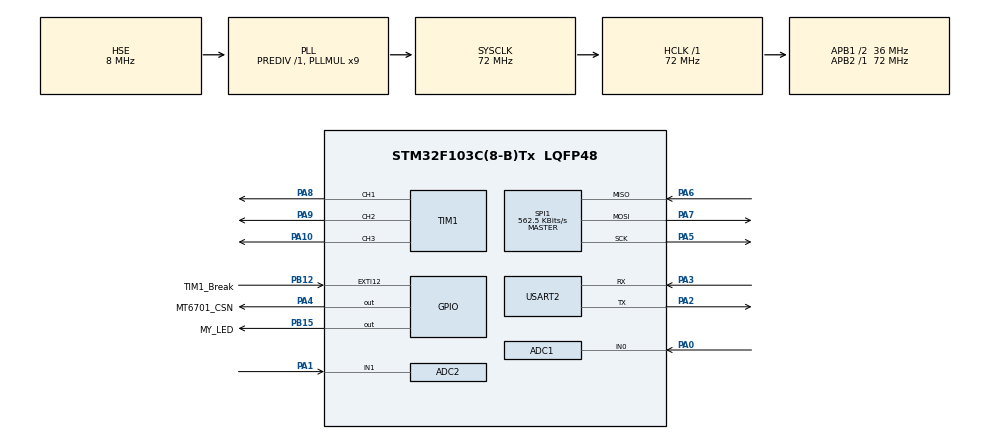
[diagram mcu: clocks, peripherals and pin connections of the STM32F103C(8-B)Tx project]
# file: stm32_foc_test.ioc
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ADC1.Channel-1\#ChannelInjectedConversion=ADC_CHANNEL_0
ADC1.ContinuousConvMode=ENABLE
ADC1.EnableAnalogWatchDog=false
ADC1.EnableInjectedConversion=ENABLE
ADC1.EnableRegularConversion=DISABLE
ADC1.ExternalTrigInjecConv=ADC_EXTERNALTRIGINJECCONV_T1_TRGO
ADC1.InjNumberOfConversion=1
ADC1.InjectedOffset-1\#ChannelInjectedConversion=0
ADC1.InjectedRank-1\#ChannelInjectedConversion=1
ADC1.Mode=ADC_DUALMODE_INJECSIMULT
ADC1.SamplingTime-1\#ChannelInjectedConversion=ADC_SAMPLETIME_7CYCLES_5
ADC1.master=1
ADC2.Channel-1\#ChannelInjectedConversion=ADC_CHANNEL_1
ADC2.ContinuousConvMode=ENABLE
ADC2.EnableInjectedConversion=ENABLE
ADC2.EnableRegularConversion=DISABLE
ADC2.InjNumberOfConversion=1
ADC2.InjectedOffset-1\#ChannelInjectedConversion=0
ADC2.InjectedRank-1\#ChannelInjectedConversion=1
ADC2.Mode=ADC_DUALMODE_INJECSIMULT
ADC2.SamplingTime-1\#ChannelInjectedConversion=ADC_SAMPLETIME_7CYCLES_5
Dma.Request0=SPI1_RX
Dma.Request1=SPI1_TX
Dma.SPI1_RX.0.Direction=DMA_PERIPH_TO_MEMORY
Dma.SPI1_RX.0.Instance=DMA1_Channel2
Dma.SPI1_RX.0.MemDataAlignment=DMA_MDATAALIGN_BYTE
Dma.SPI1_RX.0.MemInc=DMA_MINC_ENABLE
Dma.SPI1_RX.0.Mode=DMA_NORMAL
Dma.SPI1_RX.0.PeriphDataAlignment=DMA_PDATAALIGN_BYTE
Dma.SPI1_RX.0.PeriphInc=DMA_PINC_DISABLE
Dma.SPI1_RX.0.Priority=DMA_PRIORITY_LOW
Dma.SPI1_TX.1.Direction=DMA_MEMORY_TO_PERIPH
Dma.SPI1_TX.1.Instance=DMA1_Channel3
Dma.SPI1_TX.1.MemDataAlignment=DMA_MDATAALIGN_BYTE
Dma.SPI1_TX.1.MemInc=DMA_MINC_ENABLE
Dma.SPI1_TX.1.Mode=DMA_NORMAL
Dma.SPI1_TX.1.PeriphDataAlignment=DMA_PDATAALIGN_BYTE
Dma.SPI1_TX.1.PeriphInc=DMA_PINC_DISABLE
Dma.SPI1_TX.1.Priority=DMA_PRIORITY_LOW
Mcu.Family=STM32F1
Mcu.Name=STM32F103C(8-B)Tx
Mcu.Package=LQFP48
Mcu.UserConstants=speed_calc_freq,motor_speed_calc_freq;pwm_freq,motor_pwm_freq;control_freq,motor_control_freq
NVIC.ADC1_2_IRQn=true\:1\:0\:true\:false\:true\:true\:true\:true
NVIC.DMA1_Channel2_IRQn=true\:1\:0\:false\:false\:true\:false\:true\:true
NVIC.DMA1_Channel3_IRQn=true\:1\:0\:false\:false\:true\:false\:true\:true
NVIC.EXTI15_10_IRQn=true\:3\:0\:true\:false\:true\:true\:true\:true
NVIC.PriorityGroup=NVIC_PRIORITYGROUP_4
NVIC.SPI1_IRQn=true\:1\:0\:true\:false\:true\:true\:true\:true
NVIC.TIM3_IRQn=true\:1\:0\:true\:false\:true\:true\:true\:true
PA0-WKUP.Signal=ADCx_IN0
PA1.Signal=ADCx_IN1
PA10.Signal=S_TIM1_CH3
PA13.Mode=Serial_Wire
PA13.Signal=SYS_JTMS-SWDIO
PA14.Mode=Serial_Wire
PA14.Signal=SYS_JTCK-SWCLK
PA2.Mode=Asynchronous
PA2.Signal=USART2_TX
PA3.Mode=Asynchronous
PA3.Signal=USART2_RX
PA4.GPIO_Label=MT6701_CSN
PA4.Signal=GPIO_Output
PA5.Mode=Full_Duplex_Master
PA5.Signal=SPI1_SCK
PA6.Mode=Full_Duplex_Master
PA6.Signal=SPI1_MISO
PA7.Mode=Full_Duplex_Master
PA7.Signal=SPI1_MOSI
PA8.Signal=S_TIM1_CH1
PA9.Signal=S_TIM1_CH2
PB12.GPIO_Label=TIM1_Break
PB12.GPIO_ModeDefaultEXTI=GPIO_MODE_IT_FALLING
PB12.Signal=GPXTI12
PB15.GPIO_Label=MY_LED
PB15.Signal=GPIO_Output
PD0-OSC_IN.Mode=HSE-External-Oscillator
PD0-OSC_IN.Signal=RCC_OSC_IN
PD1-OSC_OUT.Mode=HSE-External-Oscillator
PD1-OSC_OUT.Signal=RCC_OSC_OUT
ProjectManager.HeapSize=0x200
ProjectManager.StackSize=0x400
ProjectManager.TargetToolchain=MDK-ARM V5.32
RCC.ADCPresc=RCC_ADCPCLK2_DIV6
RCC.AHBFreq_Value=72000000
RCC.APB1CLKDivider=RCC_HCLK_DIV2
RCC.APB1Freq_Value=36000000
RCC.APB1TimFreq_Value=72000000
RCC.APB2Freq_Value=72000000
RCC.APB2TimFreq_Value=72000000
RCC.HCLKFreq_Value=72000000
RCC.PLLMUL=RCC_PLL_MUL9
RCC.PLLSourceVirtual=RCC_PLLSOURCE_HSE
RCC.SYSCLKFreq_VALUE=72000000
RCC.SYSCLKSource=RCC_SYSCLKSOURCE_PLLCLK
RCC.USBFreq_Value=72000000
SH.ADCx_IN0.0=ADC1_IN0,IN0
SH.ADCx_IN1.0=ADC2_IN1,IN1
SH.S_TIM1_CH1.0=TIM1_CH1,PWM Generation1 CH1
SH.S_TIM1_CH2.0=TIM1_CH2,PWM Generation2 CH2
SH.S_TIM1_CH3.0=TIM1_CH3,PWM Generation3 CH3
SPI1.BaudRatePrescaler=SPI_BAUDRATEPRESCALER_128
SPI1.CLKPhase=SPI_PHASE_2EDGE
SPI1.CalculateBaudRate=562.5 KBits/s
SPI1.Direction=SPI_DIRECTION_2LINES
SPI1.Mode=SPI_MODE_MASTER
SPI1.VirtualType=VM_MASTER
STMicroelectronics.X-CUBE-ALGOBUILD.1.4.0.LibraryCcDSPOoLibraryJjDSPOoLibrary=true
TIM1.AutoReloadPreload=TIM_AUTORELOAD_PRELOAD_ENABLE
TIM1.BreakPolarity=TIM_BREAKPOLARITY_LOW
TIM1.BreakState=TIM_BREAK_ENABLE
TIM1.Channel-PWM\ Generation1\ CH1=TIM_CHANNEL_1
TIM1.Channel-PWM\ Generation2\ CH2=TIM_CHANNEL_2
TIM1.Channel-PWM\ Generation3\ CH3=TIM_CHANNEL_3
TIM1.CounterMode=TIM_COUNTERMODE_CENTERALIGNED3
TIM1.LockLevel=TIM_LOCKLEVEL_1
TIM1.Period=(72*1000000/(2*motor_pwm_freq))
TIM1.RepetitionCounter=(2*motor_pwm_freq/motor_control_freq)-1
TIM1.TIM_MasterOutputTrigger=TIM_TRGO_UPDATE
TIM3.Period=1000000/speed_calc_freq-1
TIM3.Prescaler=72-1
USART2.VirtualMode=VM_ASYNC
VP_STMicroelectronics.X-CUBE-ALGOBUILD_VS_DSPOoLibraryJjLibrary_1.4.0_1.4.0.Mode=DSPOoLibraryJjLibrary
VP_TIM1_VS_ClockSourceINT.Mode=Internal
VP_TIM3_VS_ClockSourceINT.Mode=Internal
board=custom

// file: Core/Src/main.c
/* USER CODE BEGIN Header */
/**
 ******************************************************************************
 * @file           : main.c
 * @brief          : Main program body
 ******************************************************************************
 * @attention
 *
 * Copyright (c) 2024 STMicroelectronics.
 * All rights reserved.
 *
 * This software is licensed under terms that can be found in the LICENSE file
 * in the root directory of this software component.
 * If no LICENSE file comes with this software, it is provided AS-IS.
 *
 ******************************************************************************
 */
// #if defined(__ARMCC_VERSION) && (__ARMCC_VERSION < 6000000)
// #error "不支持使用 Keil ARM Compiler V5编译器 请使用 Keil ARM Compiler V6编译"
// #endif
/* USER CODE END Header */
#include "main.h"
#include "adc.h"
#include "dma.h"
#include "spi.h"
#include "tim.h"
#include "usart.h"
#include "gpio.h"

/* USER CODE BEGIN Includes */
#include <stdio.h>
#include <stdbool.h>
#include "motor/motor_runtime_param.h"
#include "motor/foc.h"
#include "global_def.h"
#include <math.h>
/* USER CODE END Includes */

/* USER CODE BEGIN PD */
#define TARGET_SPEED_RPM 2000.0f
#define TARGET_SPEED_RAD_S (TARGET_SPEED_RPM * 2.0f * PI / 60.0f)
#define SPEED_RAMP_MS 2620u // 维持原来约80 rad/s²的加速斜率
#define STALL_TIMEOUT_MS 2000u
#define STARTUP_STILL_MS 100u
#define STARTUP_STILL_TIMEOUT_MS 2000u

/* USER CODE END PD */

/* USER CODE BEGIN PV */
static inline void iwdg_feed(void)
{
  IWDG->KR = 0xAAAAu;
}
/* USER CODE END PV */

void SystemClock_Config(void);

/* USER CODE BEGIN 0 */
void set_pwm_duty(float d_u, float d_v, float d_w)
{
  if (!isfinite(d_u) || !isfinite(d_v) || !isfinite(d_w))
  {
    motor_stop(MOTOR_FAULT_CONTROL);
    return;
  }
  if (d_u != 0.0f || d_v != 0.0f || d_w != 0.0f)
  {
    // 保持三相电压矢量方向，同时在上下计数端都留10%的采样窗口。
    float highest = fmaxf(d_u, fmaxf(d_v, d_w));
    float lowest = fminf(d_u, fminf(d_v, d_w));
    float scale = 1.0f;
    if (highest > 0.9f)
      scale = fminf(scale, 0.4f / (highest - 0.5f));
    if (lowest < 0.1f)
      scale = fminf(scale, 0.4f / (0.5f - lowest));
    d_u = fmaxf(0.1f, fminf(0.5f + scale * (d_u - 0.5f), 0.9f));
    d_v = fmaxf(0.1f, fminf(0.5f + scale * (d_v - 0.5f), 0.9f));
    d_w = fmaxf(0.1f, fminf(0.5f + scale * (d_w - 0.5f), 0.9f));
  }
  uint32_t primask = __get_PRIMASK();
  __disable_irq();
  __HAL_TIM_SET_COMPARE(&htim1, TIM_CHANNEL_1, d_u * htim1.Instance->ARR);
  __HAL_TIM_SET_COMPARE(&htim1, TIM_CHANNEL_2, d_v * htim1.Instance->ARR);
  __HAL_TIM_SET_COMPARE(&htim1, TIM_CHANNEL_3, d_w * htim1.Instance->ARR);
  __set_PRIMASK(primask);
}

void set_pwm_duty_q15(uint16_t d_u, uint16_t d_v, uint16_t d_w)
{
  if (d_u > 32767u || d_v > 32767u || d_w > 32767u)
  {
    motor_stop(MOTOR_FAULT_CONTROL);
    return;
  }
  uint32_t primask = __get_PRIMASK();
  __disable_irq();
  TIM1->CCR1 = ((uint32_t)d_u * TIM1->ARR) >> 15;
  TIM1->CCR2 = ((uint32_t)d_v * TIM1->ARR) >> 15;
  TIM1->CCR3 = ((uint32_t)d_w * TIM1->ARR) >> 15;
  __set_PRIMASK(primask);
}

void motor_stop(uint32_t reason)
{
  uint32_t primask = __get_PRIMASK();
  __disable_irq();
  if (motor_fault == MOTOR_FAULT_NONE)
    motor_fault = reason;
  motor_control_context.type = control_type_null;
  if ((RCC->APB2ENR & RCC_APB2ENR_TIM1EN) != 0u)
  {
    TIM1->CCR1 = 0;
    TIM1->CCR2 = 0;
    TIM1->CCR3 = 0;
    TIM1->BDTR &= ~TIM_BDTR_MOE; // 锁住PWM输出，必须重启才能恢复
  }
  __set_PRIMASK(primask);
}
/* USER CODE END 0 */

int main(void)
{

  /* MCU Configuration--------------------------------------------------------*/

  /* Reset of all peripherals, Initializes the Flash interface and the Systick. */
  HAL_Init();

  /* Configure the system clock */
  SystemClock_Config();

  CoreDebug->DEMCR |= CoreDebug_DEMCR_TRCENA_Msk;
  DWT->CYCCNT = 0;
  DWT->CTRL |= DWT_CTRL_CYCCNTENA_Msk;

  /* Initialize all configured peripherals */
  MX_GPIO_Init();
  MX_DMA_Init();
  MX_SPI1_Init();
  MX_USART2_UART_Init();
  MX_TIM1_Init();
  MX_TIM3_Init();
  MX_ADC1_Init();
  MX_ADC2_Init();
  /* USER CODE BEGIN 2 */
  // DRV8313上电时nFAULT会短暂为低；PWM尚未启动，等待其连续稳定为高。
  uint32_t driver_wait_start = HAL_GetTick();
  uint32_t driver_ready_since = driver_wait_start;
  while (HAL_GetTick() - driver_ready_since < 10u)
  {
    if (HAL_GPIO_ReadPin(TIM1_Break_GPIO_Port, TIM1_Break_Pin) == GPIO_PIN_RESET)
      driver_ready_since = HAL_GetTick();
    if (HAL_GetTick() - driver_wait_start > 500u)
      Error_Handler();
  }
  motor_fault = MOTOR_FAULT_NONE;
  set_motor_pid(
      3.5f, 0.0f, 0.007f,
      0.01f, 0.15f, 0.0f, // 连续时间P,I,D；初始化时按1kHz外环离散化
      1.2f, 160.0f, 0.0f, // 连续时间电流PI；按8kHz离散化后Ki仍为0.02
      1.2f, 160.0f, 0.0f);

  mt6701_start_read();
  if (HAL_TIM_Base_Start_IT(&htim3) != HAL_OK)
    Error_Handler();
  uint32_t wait_start = HAL_GetTick();
  while (mt6701_valid_frame_count == 0u)
  {
    if (HAL_GetTick() - wait_start > 100u)
      Error_Handler();
  }

  // 软复位时转子可能仍在转；必须静止后才能把电流采样值当作零点。
  uint32_t quiet_since = HAL_GetTick();
  wait_start = quiet_since;
  while (HAL_GetTick() - quiet_since < STARTUP_STILL_MS)
  {
    if (motor_fault != MOTOR_FAULT_NONE || !mt6701_angle_is_fresh() ||
        HAL_GetTick() - wait_start > STARTUP_STILL_TIMEOUT_MS)
      Error_Handler();
    if (fabsf(motor_speed) > 1.0f)
      quiet_since = HAL_GetTick();
  }

  if (motor_fault != MOTOR_FAULT_NONE ||
      HAL_ADCEx_Calibration_Start(&hadc1) != HAL_OK ||
      HAL_ADCEx_Calibration_Start(&hadc2) != HAL_OK ||
      HAL_TIM_PWM_Start(&htim1, TIM_CHANNEL_1) != HAL_OK ||
      HAL_TIM_PWM_Start(&htim1, TIM_CHANNEL_2) != HAL_OK ||
      HAL_TIM_PWM_Start(&htim1, TIM_CHANNEL_3) != HAL_OK ||
      HAL_ADCEx_InjectedStart(&hadc2) != HAL_OK ||
      HAL_ADCEx_InjectedStart_IT(&hadc1) != HAL_OK)
    Error_Handler();

  wait_start = HAL_GetTick();
  while (!motor_current_offset_ready)
  {
    if (motor_fault != MOTOR_FAULT_NONE || HAL_GetTick() - wait_start > 250u)
      Error_Handler();
  }

  encoder_init_angle = encoder_angle; // 记录一下上电时编码器角度
  motor_control_context.torque_norm_d = MOTOR_ALIGN_CURRENT_A / MAX_CURRENT;
  motor_control_context.type = control_type_align;
  // 定子alpha轴限流校零：至少400ms让转子机械到位，且电流须稳定在
  // 目标附近50ms以上才记零位；1.5s不收敛说明电流环根本没工作。
  uint32_t align_start = HAL_GetTick();
  uint32_t align_settled_since = align_start;
  bool align_ok = false;
  while (HAL_GetTick() - align_start < 1500u)
  {
    if (motor_fault != MOTOR_FAULT_NONE)
      Error_Handler();
    if (fabsf(motor_i_u - MOTOR_ALIGN_CURRENT_A) < 0.05f)
    {
      if (HAL_GetTick() - align_settled_since >= 50u &&
          HAL_GetTick() - align_start >= 400u)
      {
        align_ok = true;
        break;
      }
    }
    else
    {
      align_settled_since = HAL_GetTick();
    }
    HAL_Delay(5);
  }
  if (!align_ok)
    motor_stop(MOTOR_FAULT_ALIGN);
  if (motor_fault != MOTOR_FAULT_NONE)
    Error_Handler();
  rotor_zero_angle = encoder_angle;
  rotor_zero_raw = encoder_raw;
  motor_control_context.type = control_type_null;
  set_pwm_duty(0.0f, 0.0f, 0.0f);
  HAL_Delay(100);
  /* USER CODE END 2 */

  /* Infinite loop */
  /* USER CODE BEGIN WHILE */
  // 直接进入限流速度环，目标从0缓升；不再先用固定力矩盲转1秒。
  motor_control_context.speed = 0.0f;
  motor_control_context.max_torque_norm = MOTOR_RUN_CURRENT_A / MAX_CURRENT;
  motor_control_context.type = control_type_speed_torque;
  // 独立看门狗：主循环每~200ms喂一次，固件跑飞约1s后复位并切断PWM输出。
  // 调试器halt内核时冻结计数，避免SWD监控触发复位。IWDG启动后由硬件自动开LSI。
  __HAL_DBGMCU_FREEZE_IWDG();
  // 必须先启动看门狗：F1的LSI由IWDG启动时硬件强制开启，先写PR/RLR再等待
  // 会因LSI未起振使SR同步位永远置位而卡死。
  IWDG->KR = 0xCCCCu;
  IWDG->KR = 0x5555u; // 解锁PR/RLR写访问
  IWDG->PR = 4u;      // LSI约40kHz / 64 ≈ 625Hz计数
  IWDG->RLR = 625u;   // 约1s超时
  uint32_t iwdg_sync_start = HAL_GetTick();
  while ((IWDG->SR & 3u) != 0u && HAL_GetTick() - iwdg_sync_start < 50u)
    ; // 等待分频与重载值同步生效；超时则放弃看门狗也不卡死
  iwdg_feed();
  uint32_t ramp_start = HAL_GetTick();
  while (motor_fault == MOTOR_FAULT_NONE)
  {
    iwdg_feed();
    uint32_t elapsed = HAL_GetTick() - ramp_start;
    if (elapsed >= SPEED_RAMP_MS)
    {
      motor_control_context.speed = TARGET_SPEED_RAD_S;
      break;
    }
    motor_control_context.speed = TARGET_SPEED_RAD_S * ((float)elapsed / SPEED_RAMP_MS);
    HAL_Delay(10);
  }
  uint32_t low_speed_since = HAL_GetTick();

  // 理论讲解以及FOC代码逐步实现讲解请前往查看：https://blog.csdn.net/qq570437459/category_12672491.html
  while (1)
  {
    iwdg_feed();
    if (motor_fault == MOTOR_FAULT_NONE)
    {
      uint32_t now = HAL_GetTick();
      float target = motor_control_context.speed;
      float speed_in_target_direction = motor_speed * (target >= 0.0f ? 1.0f : -1.0f);
      if (speed_in_target_direction < 0.5f * fabsf(target))
      {
        if (now - low_speed_since >= STALL_TIMEOUT_MS)
          motor_stop(MOTOR_FAULT_STALL);
      }
      else
      {
        low_speed_since = now;
      }
    }
    // 使用整数避免newlib-nano默认未开启浮点printf时丢失诊断值。
    printf("speed_mrad_s=%ld iq_mA=%ld id_mA=%ld fault=%lu frames=%lu\n",
           (long)(motor_speed * 1000.0f), (long)(motor_i_q * 1000.0f),
           (long)(motor_i_d * 1000.0f), (unsigned long)motor_fault,
           (unsigned long)mt6701_valid_frame_count);
    HAL_Delay(100);
    HAL_GPIO_WritePin(GPIOB, GPIO_PIN_15, GPIO_PIN_SET);
    HAL_Delay(100);
    HAL_GPIO_WritePin(GPIOB, GPIO_PIN_15, GPIO_PIN_RESET);

    /* USER CODE END WHILE */

  }
}

void SystemClock_Config(void)
{
  RCC_OscInitTypeDef RCC_OscInitStruct = {0};
  RCC_ClkInitTypeDef RCC_ClkInitStruct = {0};
  RCC_PeriphCLKInitTypeDef PeriphClkInit = {0};

  /** Initializes the RCC Oscillators according to the specified parameters
   * in the RCC_OscInitTypeDef structure.
   */
  RCC_OscInitStruct.OscillatorType = RCC_OSCILLATORTYPE_HSE;
  RCC_OscInitStruct.HSEState = RCC_HSE_ON;
  RCC_OscInitStruct.HSEPredivValue = RCC_HSE_PREDIV_DIV1;
  RCC_OscInitStruct.HSIState = RCC_HSI_ON;
  RCC_OscInitStruct.PLL.PLLState = RCC_PLL_ON;
  RCC_OscInitStruct.PLL.PLLSource = RCC_PLLSOURCE_HSE;
  RCC_OscInitStruct.PLL.PLLMUL = RCC_PLL_MUL9;
  if (HAL_RCC_OscConfig(&RCC_OscInitStruct) != HAL_OK)
  {
    Error_Handler();
  }

  /** Initializes the CPU, AHB and APB buses clocks
   */
  RCC_ClkInitStruct.ClockType = RCC_CLOCKTYPE_HCLK | RCC_CLOCKTYPE_SYSCLK | RCC_CLOCKTYPE_PCLK1 | RCC_CLOCKTYPE_PCLK2;
  RCC_ClkInitStruct.SYSCLKSource = RCC_SYSCLKSOURCE_PLLCLK;
  RCC_ClkInitStruct.AHBCLKDivider = RCC_SYSCLK_DIV1;
  RCC_ClkInitStruct.APB1CLKDivider = RCC_HCLK_DIV2;
  RCC_ClkInitStruct.APB2CLKDivider = RCC_HCLK_DIV1;

  if (HAL_RCC_ClockConfig(&RCC_ClkInitStruct, FLASH_LATENCY_2) != HAL_OK)
  {
    Error_Handler();
  }
  PeriphClkInit.PeriphClockSelection = RCC_PERIPHCLK_ADC;
  PeriphClkInit.AdcClockSelection = RCC_ADCPCLK2_DIV6;
  if (HAL_RCCEx_PeriphCLKConfig(&PeriphClkInit) != HAL_OK)
  {
    Error_Handler();
  }
}

void Error_Handler(void)
{
  /* USER CODE BEGIN Error_Handler_Debug */
  /* User can add his own implementation to report the HAL error return state */
  __disable_irq();
  if ((RCC->APB2ENR & RCC_APB2ENR_TIM1EN) != 0u)
    TIM1->BDTR &= ~TIM_BDTR_MOE;
  while (1)
  {
  }
  /* USER CODE END Error_Handler_Debug */
}
